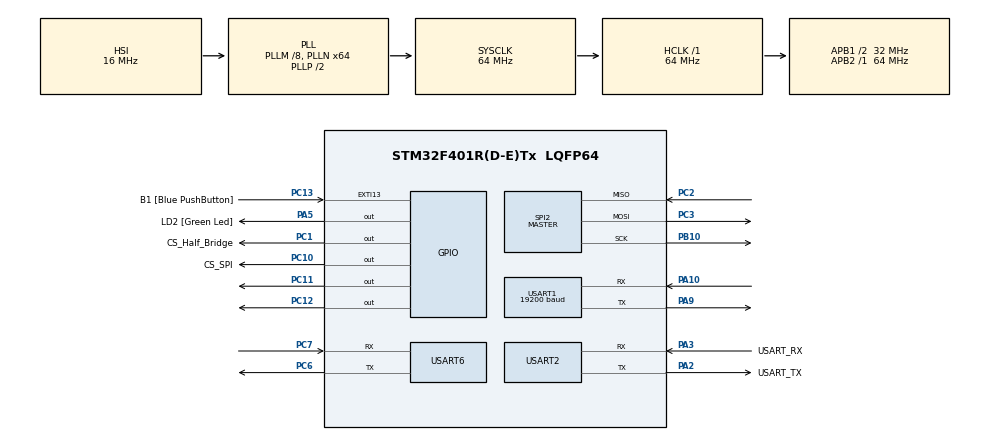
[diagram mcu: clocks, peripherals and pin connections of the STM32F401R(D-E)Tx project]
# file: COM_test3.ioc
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Mcu.Family=STM32F4
Mcu.Name=STM32F401R(D-E)Tx
Mcu.Package=LQFP64
NVIC.PriorityGroup=NVIC_PRIORITYGROUP_0
NVIC.SPI2_IRQn=true\:0\:0\:false\:false\:true\:true\:true\:true
NVIC.USART1_IRQn=true\:0\:0\:false\:false\:true\:true\:true\:true
NVIC.USART2_IRQn=true\:0\:0\:false\:false\:true\:true\:true\:true
NVIC.USART6_IRQn=true\:0\:0\:false\:false\:true\:true\:true\:true
PA10.Mode=Asynchronous
PA10.Signal=USART1_RX
PA13.GPIO_Label=TMS
PA13.Mode=Serial_Wire
PA13.Signal=SYS_JTMS-SWDIO
PA14.GPIO_Label=TCK
PA14.Mode=Serial_Wire
PA14.Signal=SYS_JTCK-SWCLK
PA2.GPIO_Label=USART_TX
PA2.GPIO_Mode=GPIO_MODE_AF_PP
PA2.GPIO_PuPd=GPIO_NOPULL
PA2.GPIO_Speed=GPIO_SPEED_FREQ_LOW
PA2.Mode=Asynchronous
PA2.Signal=USART2_TX
PA3.GPIO_Label=USART_RX
PA3.GPIO_Mode=GPIO_MODE_AF_PP
PA3.GPIO_PuPd=GPIO_NOPULL
PA3.GPIO_Speed=GPIO_SPEED_FREQ_LOW
PA3.Mode=Asynchronous
PA3.Signal=USART2_RX
PA5.GPIO_Label=LD2 [Green Led]
PA5.GPIO_Mode=GPIO_MODE_OUTPUT_PP
PA5.GPIO_PuPd=GPIO_NOPULL
PA5.GPIO_Speed=GPIO_SPEED_FREQ_LOW
PA5.Signal=GPIO_Output
PA9.Mode=Asynchronous
PA9.Signal=USART1_TX
PB10.GPIO_PuPd=GPIO_PULLUP
PB10.Mode=Full_Duplex_Master
PB10.Signal=SPI2_SCK
PB3.GPIO_Label=SWO
PB3.Signal=SYS_JTDO-SWO
PC1.GPIO_Label=CS_Half_Bridge
PC1.GPIO_ModeDefaultOutputPP=GPIO_MODE_OUTPUT_OD
PC1.GPIO_PuPd=GPIO_PULLUP
PC1.PinState=GPIO_PIN_SET
PC1.Signal=GPIO_Output
PC10.GPIO_Label=CS_SPI
PC10.GPIO_PuPd=GPIO_PULLUP
PC10.Signal=GPIO_Output
PC11.GPIO_PuPd=GPIO_PULLDOWN
PC11.Signal=GPIO_Output
PC12.GPIO_PuPd=GPIO_PULLDOWN
PC12.Signal=GPIO_Output
PC13-ANTI_TAMP.GPIO_Label=B1 [Blue PushButton]
PC13-ANTI_TAMP.GPIO_ModeDefaultEXTI=GPIO_MODE_IT_FALLING
PC13-ANTI_TAMP.GPIO_PuPd=GPIO_NOPULL
PC13-ANTI_TAMP.Signal=GPXTI13
PC14-OSC32_IN.Mode=LSE-External-Oscillator
PC14-OSC32_IN.Signal=RCC_OSC32_IN
PC15-OSC32_OUT.Mode=LSE-External-Oscillator
PC15-OSC32_OUT.Signal=RCC_OSC32_OUT
PC2.GPIO_PuPd=GPIO_PULLUP
PC2.Mode=Full_Duplex_Master
PC2.Signal=SPI2_MISO
PC3.GPIO_PuPd=GPIO_PULLUP
PC3.Mode=Full_Duplex_Master
PC3.Signal=SPI2_MOSI
PC6.Mode=Asynchronous
PC6.Signal=USART6_TX
PC7.Mode=Asynchronous
PC7.Signal=USART6_RX
PH0\ -\ OSC_IN.Mode=HSE-External-Clock-Source
PH0\ -\ OSC_IN.Signal=RCC_OSC_IN
PH1\ -\ OSC_OUT.Mode=HSE-External-Clock-Source
PH1\ -\ OSC_OUT.Signal=RCC_OSC_OUT
ProjectManager.HeapSize=0x200
ProjectManager.StackSize=0x400
ProjectManager.TargetToolchain=STM32CubeIDE
RCC.48MHZClocksFreq_Value=18285714.285714287
RCC.AHBFreq_Value=64000000
RCC.APB1CLKDivider=RCC_HCLK_DIV2
RCC.APB1Freq_Value=32000000
RCC.APB1TimFreq_Value=64000000
RCC.APB2Freq_Value=64000000
RCC.APB2TimFreq_Value=64000000
RCC.CortexFreq_Value=64000000
RCC.HCLKFreq_Value=64000000
RCC.HSE_VALUE=8000000
RCC.HSI_VALUE=16000000
RCC.PLLM=8
RCC.PLLN=64
RCC.PLLQ=7
RCC.SYSCLKFreq_VALUE=64000000
RCC.SYSCLKSource=RCC_SYSCLKSOURCE_PLLCLK
RCC.VCOOutputFreq_Value=128000000
SPI2.BaudRatePrescaler=SPI_BAUDRATEPRESCALER_64
SPI2.DataSize=SPI_DATASIZE_8BIT
SPI2.Direction=SPI_DIRECTION_2LINES
SPI2.Mode=SPI_MODE_MASTER
SPI2.VirtualType=VM_MASTER
USART1.BaudRate=19200
USART1.VirtualMode=VM_ASYNC
USART2.VirtualMode=VM_ASYNC
USART6.VirtualMode=VM_ASYNC
board=NUCLEO-F401RE

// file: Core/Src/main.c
/* USER CODE BEGIN Header */
/**
  ******************************************************************************
  * @file           : main.c
  * @brief          : Main program body
  ******************************************************************************
  * @attention
  *
  * <h2><center>&copy; Copyright (c) 2024 STMicroelectronics.
  * All rights reserved.</center></h2>
  *
  * This software component is licensed by ST under BSD 3-Clause license,
  * the "License"; You may not use this file except in compliance with the
  * License. You may obtain a copy of the License at:
  *                        opensource.org/licenses/BSD-3-Clause
  *
  ******************************************************************************
  */
/* USER CODE END Header */
#include "main.h"

/* USER CODE BEGIN Includes */
#include "SPI_Config.h"
#include "UART_Config.h"
#include "movement_Control.h"
#include <stdio.h>
/* USER CODE END Includes */

SPI_HandleTypeDef hspi2;

UART_HandleTypeDef huart1;
UART_HandleTypeDef huart2;
UART_HandleTypeDef huart6;

void SystemClock_Config(void);
static void MX_GPIO_Init(void);
static void MX_USART2_UART_Init(void);
static void MX_SPI2_Init(void);
static void MX_USART1_UART_Init(void);
static void MX_USART6_UART_Init(void);
/* USER CODE BEGIN PFP */
#define PUTCHAR_PROTOTYPE int __io_putchar(int ch)
/* USER CODE END PFP */

/* USER CODE BEGIN 0 */
int cnt = 0;
uint8_t UART_RX;
uint8_t UART_RX2[2];
/* USER CODE END 0 */

int main(void)
{

  /* MCU Configuration--------------------------------------------------------*/

  /* Reset of all peripherals, Initializes the Flash interface and the Systick. */
  HAL_Init();

  /* Configure the system clock */
  SystemClock_Config();

  /* Initialize all configured peripherals */
  MX_GPIO_Init();
  MX_USART2_UART_Init();
  MX_SPI2_Init();
  MX_USART1_UART_Init();
  MX_USART6_UART_Init();
  /* USER CODE BEGIN 2 */
  HAL_GPIO_WritePin(GPIOC, GPIO_PIN_10, SET);
  HAL_UART_Receive_IT(&huart1, &UART_RX, 1);
  HAL_UART_Receive_IT(&huart6, UART_RX2, 1);
  uint16_t speedWA = 2;
  uint16_t speedWB = 2;
  uint16_t rotWA = 0;
  uint16_t rotWB = 1;
  uint8_t UATX[6];
  ChangeDirection(&hspi2, 2, 2, 0, 0);
  set_State(Automatic);
  //ChangeDirection(&hspi2, 2, 2, 0x01, 0x01);
  /* USER CODE END 2 */

  /* Infinite loop */
  /* USER CODE BEGIN WHILE */
  while (1)
  {
	/* HAL_Delay(5000);
	 rotWA = 0;
	 ChangeDirection(&hspi2, speedWA, speedWB, rotWA, rotWB);
	 HAL_Delay(5000);
	 rotWA = 1;
	 ChangeDirection(&hspi2, speedWA, speedWB, rotWA, rotWB);*/
	 //PDGAYNIGGALGBT(&hspi2);
	 //HAL_Delay(10);
	 Locklass(&hspi2, &huart1);
	 /*send_SPI_message(&hspi2, Start_Stop, start_Bot);
	 HAL_Delay(5000);
	 send_SPI_message(&hspi2, Start_Stop, stop_Bot);
	 HAL_Delay(5000);*/
	//  HAL_Delay(5000);

    /* USER CODE END WHILE */

  }
}

void SystemClock_Config(void)
{
  RCC_OscInitTypeDef RCC_OscInitStruct = {0};
  RCC_ClkInitTypeDef RCC_ClkInitStruct = {0};

  /** Configure the main internal regulator output voltage
  */
  __HAL_RCC_PWR_CLK_ENABLE();
  __HAL_PWR_VOLTAGESCALING_CONFIG(PWR_REGULATOR_VOLTAGE_SCALE2);

  /** Initializes the RCC Oscillators according to the specified parameters
  * in the RCC_OscInitTypeDef structure.
  */
  RCC_OscInitStruct.OscillatorType = RCC_OSCILLATORTYPE_HSI;
  RCC_OscInitStruct.HSIState = RCC_HSI_ON;
  RCC_OscInitStruct.HSICalibrationValue = RCC_HSICALIBRATION_DEFAULT;
  RCC_OscInitStruct.PLL.PLLState = RCC_PLL_ON;
  RCC_OscInitStruct.PLL.PLLSource = RCC_PLLSOURCE_HSI;
  RCC_OscInitStruct.PLL.PLLM = 8;
  RCC_OscInitStruct.PLL.PLLN = 64;
  RCC_OscInitStruct.PLL.PLLP = RCC_PLLP_DIV2;
  RCC_OscInitStruct.PLL.PLLQ = 7;
  if (HAL_RCC_OscConfig(&RCC_OscInitStruct) != HAL_OK)
  {
    Error_Handler();
  }

  /** Initializes the CPU, AHB and APB buses clocks
  */
  RCC_ClkInitStruct.ClockType = RCC_CLOCKTYPE_HCLK|RCC_CLOCKTYPE_SYSCLK
                              |RCC_CLOCKTYPE_PCLK1|RCC_CLOCKTYPE_PCLK2;
  RCC_ClkInitStruct.SYSCLKSource = RCC_SYSCLKSOURCE_PLLCLK;
  RCC_ClkInitStruct.AHBCLKDivider = RCC_SYSCLK_DIV1;
  RCC_ClkInitStruct.APB1CLKDivider = RCC_HCLK_DIV2;
  RCC_ClkInitStruct.APB2CLKDivider = RCC_HCLK_DIV1;

  if (HAL_RCC_ClockConfig(&RCC_ClkInitStruct, FLASH_LATENCY_2) != HAL_OK)
  {
    Error_Handler();
  }
}

static void MX_SPI2_Init(void)
{

  /* SPI2 parameter configuration*/
  hspi2.Instance = SPI2;
  hspi2.Init.Mode = SPI_MODE_MASTER;
  hspi2.Init.Direction = SPI_DIRECTION_2LINES;
  hspi2.Init.DataSize = SPI_DATASIZE_8BIT;
  hspi2.Init.CLKPolarity = SPI_POLARITY_LOW;
  hspi2.Init.CLKPhase = SPI_PHASE_1EDGE;
  hspi2.Init.NSS = SPI_NSS_SOFT;
  hspi2.Init.BaudRatePrescaler = SPI_BAUDRATEPRESCALER_64;
  hspi2.Init.FirstBit = SPI_FIRSTBIT_MSB;
  hspi2.Init.TIMode = SPI_TIMODE_DISABLE;
  hspi2.Init.CRCCalculation = SPI_CRCCALCULATION_DISABLE;
  hspi2.Init.CRCPolynomial = 10;
  if (HAL_SPI_Init(&hspi2) != HAL_OK)
  {
    Error_Handler();
  }

}

static void MX_USART1_UART_Init(void)
{

  huart1.Instance = USART1;
  huart1.Init.BaudRate = 19200;
  huart1.Init.WordLength = UART_WORDLENGTH_8B;
  huart1.Init.StopBits = UART_STOPBITS_1;
  huart1.Init.Parity = UART_PARITY_NONE;
  huart1.Init.Mode = UART_MODE_TX_RX;
  huart1.Init.HwFlowCtl = UART_HWCONTROL_NONE;
  huart1.Init.OverSampling = UART_OVERSAMPLING_16;
  if (HAL_UART_Init(&huart1) != HAL_OK)
  {
    Error_Handler();
  }

}

static void MX_USART2_UART_Init(void)
{

  huart2.Instance = USART2;
  huart2.Init.BaudRate = 115200;
  huart2.Init.WordLength = UART_WORDLENGTH_8B;
  huart2.Init.StopBits = UART_STOPBITS_1;
  huart2.Init.Parity = UART_PARITY_NONE;
  huart2.Init.Mode = UART_MODE_TX_RX;
  huart2.Init.HwFlowCtl = UART_HWCONTROL_NONE;
  huart2.Init.OverSampling = UART_OVERSAMPLING_16;
  if (HAL_UART_Init(&huart2) != HAL_OK)
  {
    Error_Handler();
  }

}

static void MX_USART6_UART_Init(void)
{

  huart6.Instance = USART6;
  huart6.Init.BaudRate = 115200;
  huart6.Init.WordLength = UART_WORDLENGTH_8B;
  huart6.Init.StopBits = UART_STOPBITS_1;
  huart6.Init.Parity = UART_PARITY_NONE;
  huart6.Init.Mode = UART_MODE_TX_RX;
  huart6.Init.HwFlowCtl = UART_HWCONTROL_NONE;
  huart6.Init.OverSampling = UART_OVERSAMPLING_16;
  if (HAL_UART_Init(&huart6) != HAL_OK)
  {
    Error_Handler();
  }

}

static void MX_GPIO_Init(void)
{
  GPIO_InitTypeDef GPIO_InitStruct = {0};

  /* GPIO Ports Clock Enable */
  __HAL_RCC_GPIOC_CLK_ENABLE();
  __HAL_RCC_GPIOH_CLK_ENABLE();
  __HAL_RCC_GPIOA_CLK_ENABLE();
  __HAL_RCC_GPIOB_CLK_ENABLE();

  /*Configure GPIO pin Output Level */
  HAL_GPIO_WritePin(CS_Half_Bridge_GPIO_Port, CS_Half_Bridge_Pin, GPIO_PIN_SET);

  /*Configure GPIO pin Output Level */
  HAL_GPIO_WritePin(LD2_GPIO_Port, LD2_Pin, GPIO_PIN_RESET);

  /*Configure GPIO pin Output Level */
  HAL_GPIO_WritePin(GPIOC, CS_SPI_Pin|GPIO_PIN_11|GPIO_PIN_12, GPIO_PIN_RESET);

  /*Configure GPIO pin : B1_Pin */
  GPIO_InitStruct.Pin = B1_Pin;
  GPIO_InitStruct.Mode = GPIO_MODE_IT_FALLING;
  GPIO_InitStruct.Pull = GPIO_NOPULL;
  HAL_GPIO_Init(B1_GPIO_Port, &GPIO_InitStruct);

  /*Configure GPIO pin : CS_Half_Bridge_Pin */
  GPIO_InitStruct.Pin = CS_Half_Bridge_Pin;
  GPIO_InitStruct.Mode = GPIO_MODE_OUTPUT_OD;
  GPIO_InitStruct.Pull = GPIO_PULLUP;
  GPIO_InitStruct.Speed = GPIO_SPEED_FREQ_LOW;
  HAL_GPIO_Init(CS_Half_Bridge_GPIO_Port, &GPIO_InitStruct);

  /*Configure GPIO pin : LD2_Pin */
  GPIO_InitStruct.Pin = LD2_Pin;
  GPIO_InitStruct.Mode = GPIO_MODE_OUTPUT_PP;
  GPIO_InitStruct.Pull = GPIO_NOPULL;
  GPIO_InitStruct.Speed = GPIO_SPEED_FREQ_LOW;
  HAL_GPIO_Init(LD2_GPIO_Port, &GPIO_InitStruct);

  /*Configure GPIO pin : CS_SPI_Pin */
  GPIO_InitStruct.Pin = CS_SPI_Pin;
  GPIO_InitStruct.Mode = GPIO_MODE_OUTPUT_PP;
  GPIO_InitStruct.Pull = GPIO_PULLUP;
  GPIO_InitStruct.Speed = GPIO_SPEED_FREQ_LOW;
  HAL_GPIO_Init(CS_SPI_GPIO_Port, &GPIO_InitStruct);

  /*Configure GPIO pins : PC11 PC12 */
  GPIO_InitStruct.Pin = GPIO_PIN_11|GPIO_PIN_12;
  GPIO_InitStruct.Mode = GPIO_MODE_OUTPUT_PP;
  GPIO_InitStruct.Pull = GPIO_PULLDOWN;
  GPIO_InitStruct.Speed = GPIO_SPEED_FREQ_LOW;
  HAL_GPIO_Init(GPIOC, &GPIO_InitStruct);

}

/* USER CODE BEGIN 4 */

/**
  * @brief  Retargets the C library printf function to the USART.
  *   None
  * @retval None
  */
PUTCHAR_PROTOTYPE
{
  /* Place your implementation of fputc here */
  /* e.g. write a character to the USART1 and Loop until the end of transmission */
  HAL_UART_Transmit(&huart2, (uint8_t *)&ch, 1, 0xFFFF);

  return ch;
}

void HAL_UART_RxCpltCallback(UART_HandleTypeDef *huart)
{
  if(huart ->Instance == USART1)
  {
	  //computerFiel(&huart1, &hspi2, UART_RX);
	  computerFiel(&huart1, UART_RX);
	  HAL_UART_Receive_IT(&huart1, &UART_RX, 1);
  }

  if(huart ->Instance == USART6)
  {
	  M0_Process(&huart6, UART_RX2);
	  HAL_UART_Receive_IT(&huart6, UART_RX2,1);
  }
}
/* USER CODE END 4 */

void Error_Handler(void)
{
  __disable_irq();
  while (1)
  {
  }
}
